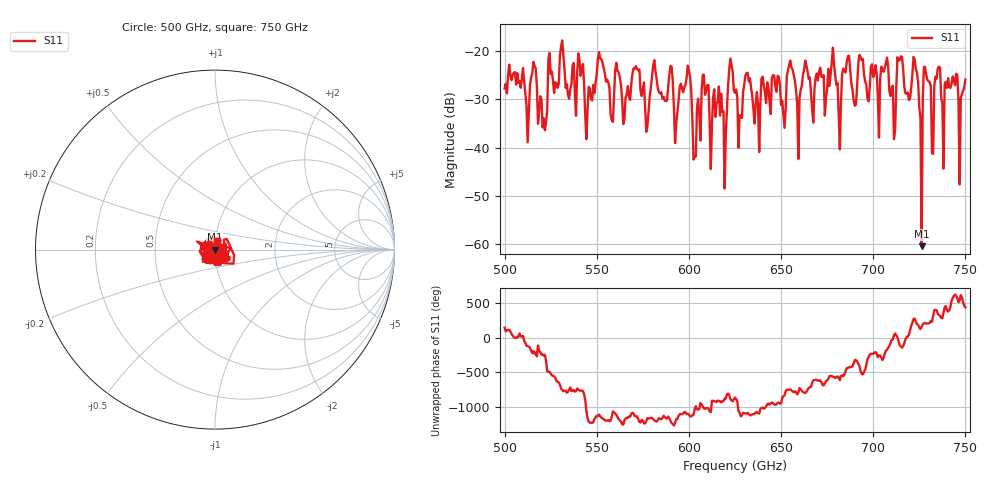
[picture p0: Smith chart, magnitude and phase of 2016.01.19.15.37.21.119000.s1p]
!Created with skrf (http://scikit-rf.org).
# GHz S RI R 50.0
!freq ReS11 ImS11
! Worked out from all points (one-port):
!   401 points, 500 GHz to 750 GHz, reference 50 ohm
!   lowest |S11| = -60.4 dB at 726.2 GHz (marker M1), VSWR 1.00, Z = 49.9 + j0.0385 ohm
!   |S11| at or under -10 dB: start of sweep to end of sweep
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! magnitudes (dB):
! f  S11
! 500 GHz  -27.7
! 515.6 GHz  -22.2
! 521.9 GHz  -36.4
! 531.2 GHz  -17.8
! 545 GHz  -32.2
! 551.9 GHz  -21.6
! 558.1 GHz  -34.3
! 562.5 GHz  -25.4
! 593.8 GHz  -32.6
! 599.4 GHz  -23.0
! 603.1 GHz  -41.8
! 608.8 GHz  -29.0
! 619.4 GHz  -48.5
! 622.5 GHz  -21.5
! 625 GHz  -28.6
! 651.2 GHz  -33.2
! 656.2 GHz  -23.8
! 659.4 GHz  -42.4
! 663.1 GHz  -22.0
! 681.2 GHz  -33.0
! 687.5 GHz  -23.8
! 718.8 GHz  -28.6
! 723.1 GHz  -23.8
! 726.2 GHz  -60.4
! 728.8 GHz  -24.9
! 731.9 GHz  -41.1
! 735 GHz  -23.6
! 750 GHz  -25.9
